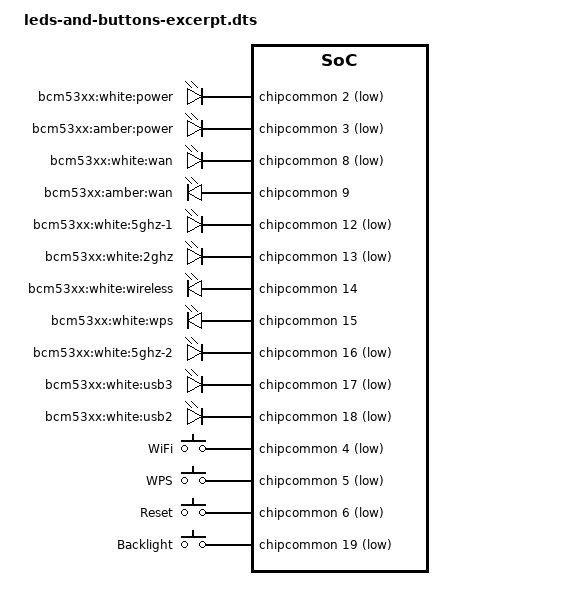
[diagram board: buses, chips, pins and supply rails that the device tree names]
/*
 * Reference excerpt, NOT a patch.
 *
 * Decompiled with `dtc -I dtb -O dts` straight off the live router's
 * /sys/firmware/fdt (see router.dtb / router-live.dts in this directory,
 * captured 2026-07-23 from a running OpenWrt 25.12.5 r33051 / kernel
 * 6.12.94 netgear,r8000). This is ground truth for what's actually
 * compiled into the running kernel today -- not the upstream/local source
 * .dts, which is not vendored in this repo's openwrt/ tree (bcm53xx pulls
 * arch/arm/boot/dts/broadcom/bcm4708-netgear-r8000.dts from the fetched
 * Linux kernel source at build time, not from target/linux/bcm53xx/).
 *
 * Conclusion after reviewing this against /sys/class/leds and
 * /etc/config/system on the live box: the LED device-tree nodes
 * themselves are complete and correct (11 gpio-leds, right GPIO
 * numbers, right labels, right default-triggers on power/wan). No DTS
 * changes are needed or made. The bug is entirely in userspace: only
 * usb2/usb3 were ever wired up in board.d/01_leds. See notes.md.
 */

/ {
	leds {
		compatible = "gpio-leds";

		led-power-white {
			label = "bcm53xx:white:power";
			gpios = <&chipcommon 2 GPIO_ACTIVE_LOW>;	/* gpio 2 */
			linux,default-trigger = "default-on";
		};

		led-power-amber {
			label = "bcm53xx:amber:power";
			gpios = <&chipcommon 3 GPIO_ACTIVE_LOW>;	/* gpio 3 */
		};

		led-wan-white {
			label = "bcm53xx:white:wan";
			gpios = <&chipcommon 8 GPIO_ACTIVE_LOW>;	/* gpio 8 */
			linux,default-trigger = "default-on";
		};

		led-wan-amber {
			label = "bcm53xx:amber:wan";
			gpios = <&chipcommon 9 GPIO_ACTIVE_HIGH>;	/* gpio 9 */
		};

		led-5ghz-1 {
			label = "bcm53xx:white:5ghz-1";
			gpios = <&chipcommon 12 GPIO_ACTIVE_LOW>;	/* gpio 12 -- radio slot 0, phy0 */
		};

		led-2ghz {
			label = "bcm53xx:white:2ghz";
			gpios = <&chipcommon 13 GPIO_ACTIVE_LOW>;	/* gpio 13 -- radio slot 1, phy1 */
		};

		led-wireless {
			label = "bcm53xx:white:wireless";
			gpios = <&chipcommon 14 GPIO_ACTIVE_HIGH>;	/* gpio 14 -- no confirmed distinct icon */
		};

		led-wps {
			label = "bcm53xx:white:wps";
			gpios = <&chipcommon 15 GPIO_ACTIVE_HIGH>;	/* gpio 15 */
		};

		led-5ghz-2 {
			label = "bcm53xx:white:5ghz-2";
			gpios = <&chipcommon 16 GPIO_ACTIVE_LOW>;	/* gpio 16 -- radio slot 2, phy2 */
		};

		led-usb3 {
			label = "bcm53xx:white:usb3";
			gpios = <&chipcommon 17 GPIO_ACTIVE_LOW>;	/* gpio 17 */
		};

		led-usb2 {
			label = "bcm53xx:white:usb2";
			gpios = <&chipcommon 18 GPIO_ACTIVE_LOW>;	/* gpio 18 */
		};
	};

	gpio-keys {
		compatible = "gpio-keys";

		button-rfkill {
			label = "WiFi";
			linux,code = <KEY_RFKILL>;
			gpios = <&chipcommon 4 GPIO_ACTIVE_LOW>;
		};

		button-wps {
			label = "WPS";
			linux,code = <KEY_WPS_BUTTON>;
			gpios = <&chipcommon 5 GPIO_ACTIVE_LOW>;
		};

		button-restart {
			label = "Reset";
			linux,code = <KEY_RESTART>;
			gpios = <&chipcommon 6 GPIO_ACTIVE_LOW>;
		};

		button-brightness {
			label = "Backlight";
			linux,code = <KEY_BRIGHTNESS_TOGGLE>;
			gpios = <&chipcommon 19 GPIO_ACTIVE_LOW>;	/* front-panel LED dimmer button; not wired to any LED behavior in this build, see notes.md */
		};
	};
};

/*
 * &chipcommon == axi@18000000/chipcommon@0, the BCM4709 ChipCommon
 * GPIO controller (phandle 6 in the live blob). Every LED and every
 * button on this board hangs off this ONE controller -- confirmed no
 * wifi-chip-local (BCM43602) LED GPIOs are used anywhere in this DT.
 * GPIO flag 1 = GPIO_ACTIVE_LOW, 0 = GPIO_ACTIVE_HIGH (raw values from
 * the live blob; symbolic macros substituted here for readability).
 */
